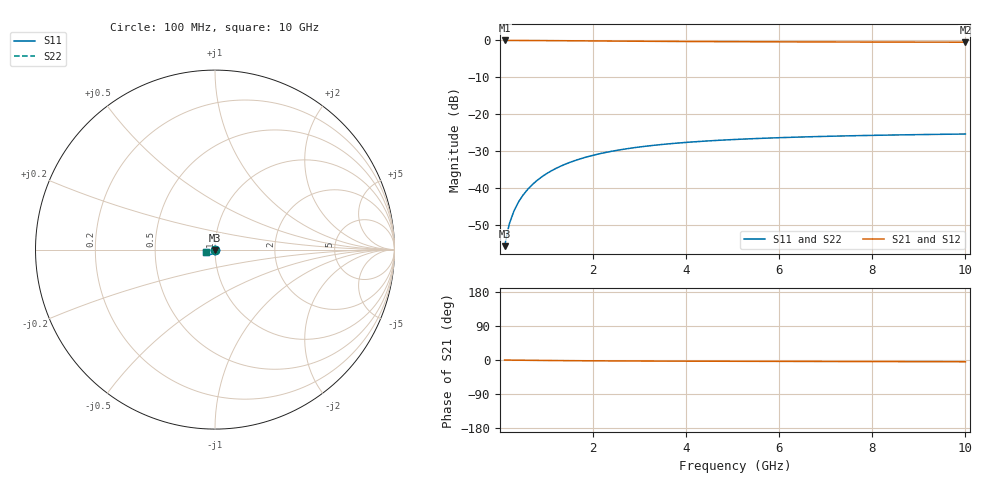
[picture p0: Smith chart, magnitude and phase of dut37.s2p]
! Touchstone file exported from HFSS 2024.1.0
!  File:  C:/UserFiles/LocalFiles/RDL_TSV_Batchsim/temp_TSV1_37_1779370584.aedt
!  Generated:  09:47:36 PM May 21, 2026
!  Design:  TSV1
!  Project:  temp_TSV1_37_1779370584
!  Setup:  Setup1
!  Solution:  Sweep
! Variables:
!  dtsv = 12.59um
!  hbump = 3um
!  htsv = 70.98um
!  lrdl = 252.1521522um
!  p = 40
!  p1 = 46.8um
!  t = 500um
!  trdl = 3um
!  wrdl = 24.89489489um
# GHz S MA R 50.000000
! Terminal data exported
! Port[1] = TSV22_T1
! Port[2] = TSV22_T2
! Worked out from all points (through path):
!   100 points, 100 MHz to 10 GHz, reference 50 ohm
!   highest |S21| = 0.00 dB at 100 MHz (marker M1); lowest = -0.5 dB at 10 GHz (marker M2)
!   lowest |S11| = -55.8 dB at 100 MHz (marker M3), VSWR 1.00, Z = 50 - j0.163 ohm
!   |S11| at or under -10 dB: start of sweep to end of sweep
!   |S22| runs from -55.8 to -25.4 dB; largest |S21 - S12| = 3.7e-15
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0.1  0.001631 -88.8  0.9999 -0.1  0.9999 -0.1  0.001631 -88.8
! Gamma 0 0 0 0
! Port Impedance 50 0 50 0
0.2  0.003258 -91.9  0.9997 -0.3  0.9997 -0.3  0.003258 -91.9
0.3  0.004882 -94.2  0.9994 -0.4  0.9994 -0.4  0.004882 -94.2
0.4  0.006495 -96.2  0.999 -0.5  0.999 -0.5  0.006495 -96.2
0.5  0.00809 -98.1  0.9986 -0.7  0.9986 -0.7  0.00809 -98.1
0.6  0.009663 -100.0  0.998 -0.8  0.998 -0.8  0.009663 -100.0
0.7  0.01121 -101.8  0.9974 -0.9  0.9974 -0.9  0.01121 -101.8
0.8  0.01272 -103.6  0.9967 -1.0  0.9967 -1.0  0.01272 -103.6
0.9  0.0142 -105.3  0.996 -1.1  0.996 -1.1  0.0142 -105.3
1.1  0.01705 -108.7  0.9943 -1.3  0.9943 -1.3  0.01705 -108.7
1.4  0.02101 -113.4  0.9915 -1.6  0.9915 -1.6  0.02101 -113.4
1.6  0.02344 -116.3  0.9894 -1.8  0.9894 -1.8  0.02344 -116.3
1.8  0.02569 -119.1  0.9874 -2.0  0.9874 -2.0  0.02569 -119.1
2.1  0.02876 -123.0  0.9843 -2.2  0.9843 -2.2  0.02876 -123.0
2.5  0.03232 -127.6  0.9803 -2.4  0.9803 -2.4  0.03232 -127.6
2.9  0.03534 -131.7  0.9765 -2.6  0.9765 -2.6  0.03534 -131.7
3.4  0.03848 -136.2  0.9723 -2.9  0.9723 -2.9  0.03848 -136.2
4.2  0.04241 -142.1  0.9666 -3.1  0.9666 -3.1  0.04241 -142.1
5.1  0.04567 -147.5  0.9615 -3.4  0.9615 -3.4  0.04567 -147.5
6.7  0.04961 -154.8  0.9551 -3.8  0.9551 -3.8  0.04961 -154.8
8.4  0.05227 -160.5  0.9505 -4.2  0.9505 -4.2  0.05227 -160.5
10  0.05396 -164.8  0.9475 -4.7  0.9475 -4.7  0.05396 -164.8
